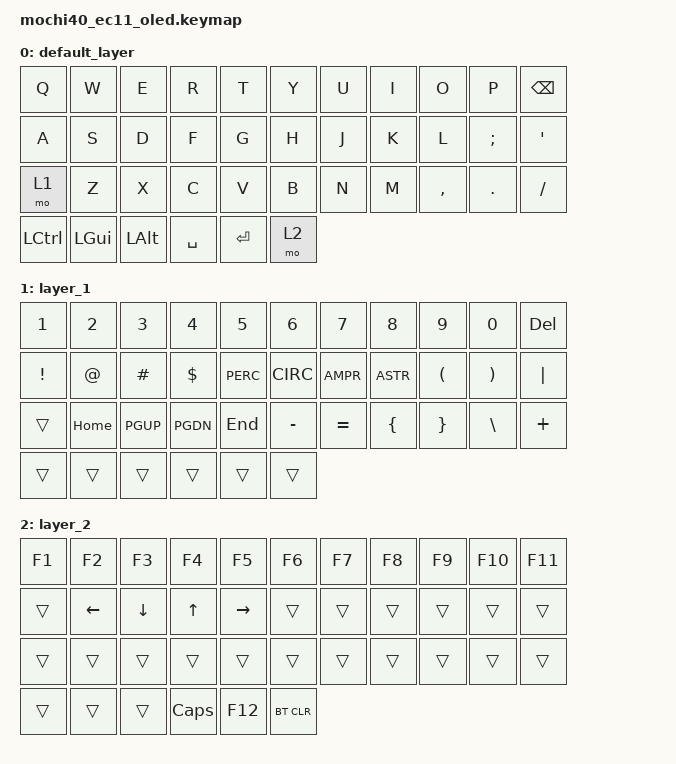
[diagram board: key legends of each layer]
#include <dt-bindings/zmk/keys.h>
#include <dt-bindings/zmk/bt.h>

/ {
    keymap {
        compatible = "zmk,keymap";

        default_layer { /* Layer 0: Default */
            bindings = <
                &kp Q   &kp W   &kp E   &kp R   &kp T   &kp Y   &kp U   &kp I   &kp O   &kp P    &kp BSPC
                &kp A   &kp S   &kp D   &kp F   &kp G   &kp H   &kp J   &kp K   &kp L   &kp SCLN &kp QUOT
                &mo 1   &kp Z   &kp X   &kp C   &kp V   &kp B   &kp N   &kp M   &kp COMMA &kp DOT  &kp FSLH
                &kp LCTRL &kp LGUI &kp LALT &kp SPC &kp RET &mo 2
            >;
        };

        layer_1 { /* Layer 1: Numbers & Symbols (khi giữ &mo 1) */
            bindings = <
                &kp N1  &kp N2  &kp N3  &kp N4  &kp N5  &kp N6  &kp N7  &kp N8  &kp N9  &kp N0   &kp DEL
                &kp EXCL &kp AT &kp HASH &kp DLLR &kp PERC &kp CIRC &kp AMPR &kp ASTR &kp LPRN &kp RPRN &kp PIPE
                &trans  &kp HOME &kp PGUP &kp PGDN &kp END &kp MINUS &kp EQUAL &kp LBRC &kp RBRC &kp BSLH &kp PLUS
                &trans  &trans  &trans  &trans  &trans  &trans
            >;
        };

        layer_2 { /* Layer 2: Arrows & Function Keys (khi giữ &mo 2) */
            bindings = <
                &kp F1  &kp F2  &kp F3  &kp F4  &kp F5  &kp F6  &kp F7  &kp F8  &kp F9  &kp F10  &kp F11
                &trans  &kp LEFT &kp DOWN &kp UP &kp RIGHT &trans  &trans  &trans  &trans  &trans  &trans
                &trans  &trans  &trans  &trans  &trans  &trans  &trans  &trans  &trans  &trans  &trans
                &trans  &trans  &trans  &kp CAPS &kp F12 &bt BT_CLR
            >;
        };
    };

    // Định nghĩa chức năng của Encoder trên các layer
    // Các encoder được định nghĩa trong file .overlay sẽ được ZMK tự động nhận diện
    // Các encoder trong keymap này chỉ định chức năng cho chúng
    // Bạn có thể mở rộng nếu có nhiều encoder
    encoder_0_encoder: encoder_0 {
        label = "Encoder on Layer 0";
        // Tham chiếu đến encoder đã định nghĩa trong overlay
        // Bắt buộc phải có nếu bạn muốn sử dụng encoder
    };

    // Chức năng của encoder trên từng layer (sử dụng nodes trong device tree)
    // Lớp 0
    encoder_0_bindings = <
        &inc_dec_kp_K_VOLU_K_VOLD // Quay tăng/giảm âm lượng
    >;
    encoder_0_button_binding = <&kp K_MUTE>; // Nhấn để tắt/bật tiếng

    // Lớp 1
    encoder_1_bindings = <
        &inc_dec_kp_PG_UP_PG_DN // Quay cuộn trang lên/xuống
    >;
    encoder_1_button_binding = <&kp PRINTSCREEN>; // Nhấn để chụp màn hình

    // Lớp 2
    encoder_2_bindings = <
        &inc_dec_kp_BRIGHTNESS_UP_BRIGHTNESS_DOWN // Quay tăng/giảm độ sáng
    >;
    encoder_2_button_binding = <&kp BACKLIGHT_TOGGLE>; // Nhấn bật/tắt đèn nền (nếu có)
};
Add Mochi40 EC11 OLED shield config and keymap
